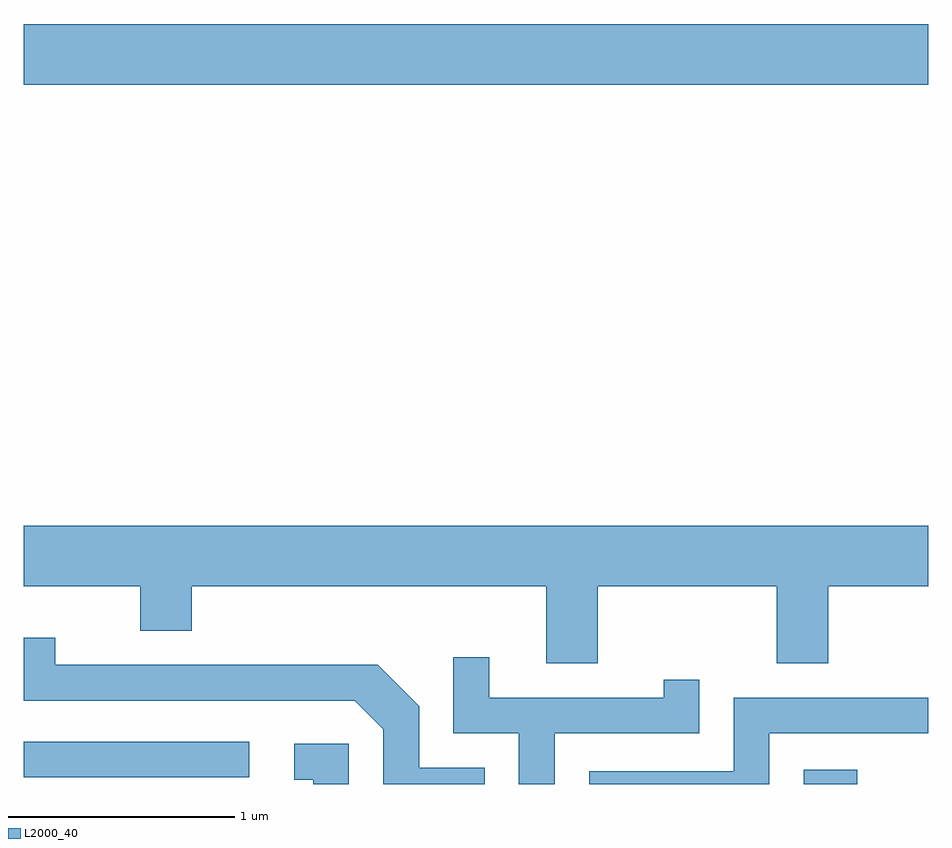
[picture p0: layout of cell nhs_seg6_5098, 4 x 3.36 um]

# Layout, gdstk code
import gdstk
lib = gdstk.Library(unit=1e-6, precision=1e-09)
def R(c, l, rs):  # rectangles x0, y0, x1, y1
    for r in rs: c.add(gdstk.rectangle(r[:2], r[2:], *l))
def P(c, l, *ps):  # polygons
    for p in ps: c.add(gdstk.Polygon(p, *l))
L2000_40 = (2000, 40)

nhs_seg6_5098 = lib.new_cell('nhs_seg6_5098')
R(nhs_seg6_5098, L2000_40, [(343.061,1660.162,343.298,1660.224), (339.611,1660.191,340.608,1660.349), (339.611,1663.256,343.611,1663.524)])
P(nhs_seg6_5098, L2000_40, [(339.611,1661.036),(340.126,1661.036),(340.126,1660.841),(340.354,1660.841),(340.354,1661.036),(341.921,1661.036),(341.921,1660.696),(342.149,1660.696),(342.149,1661.036),(342.941,1661.036),(342.941,1660.696),(343.169,1660.696),(343.169,1661.036),(343.611,1661.036),(343.611,1661.304),(339.611,1661.304)],
  [(341.649,1660.234),(341.359,1660.234),(341.359,1660.507),(341.177,1660.689),(339.749,1660.689),(339.749,1660.809),(339.611,1660.809),(339.611,1660.531),(341.074,1660.531),(341.201,1660.404),(341.201,1660.162),(341.649,1660.162)],
  [(341.959,1660.386),(342.599,1660.386),(342.599,1660.623),(342.441,1660.623),(342.441,1660.544),(341.669,1660.544),(341.669,1660.723),(341.511,1660.723),(341.511,1660.386),(341.801,1660.386),(341.801,1660.162),(341.959,1660.162)],
  [(342.909,1660.386),(343.611,1660.386),(343.611,1660.544),(342.751,1660.544),(342.751,1660.219),(342.111,1660.219),(342.111,1660.162),(342.909,1660.162)],
  [(341.049,1660.339),(340.808,1660.339),(340.808,1660.181),(340.891,1660.181),(340.891,1660.162),(341.049,1660.162)])

lib.write_gds('nhs_seg6_5098.gds')
